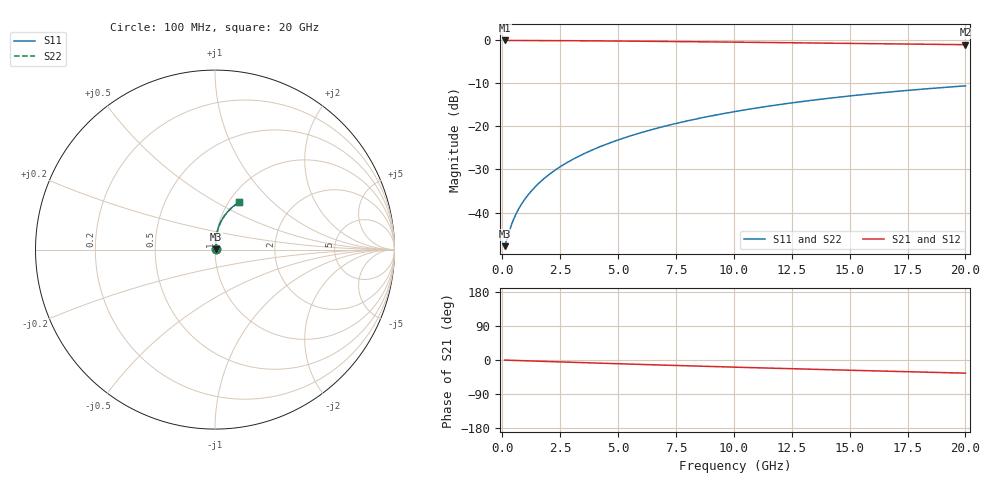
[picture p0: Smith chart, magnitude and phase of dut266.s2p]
! Touchstone file exported from HFSS 2024.1.0
!  File:  C:/UserFiles/LocalFiles/RDL_TSV_Batchsim/temp_RDL_bottom_266_1778702311.aedt
!  Generated:  04:01:08 AM May 14, 2026
!  Design:  RDL_bottom
!  Project:  temp_RDL_bottom_266_1778702311
!  Setup:  Setup1
!  Solution:  Sweep
! Variables:
!  dtsv = 10.80580581um
!  hbump = 3um
!  htsv = 87.51um
!  ldown = 512.96um
!  lrdl = 100um
!  p = 40
!  p1 = 41.07um
!  rhole = 1um
!  t = 450um
!  tdown = 2.37um
!  trdl = 3.915915916um
!  wdown = 22.19um
!  wrdl = 20um
# GHz S MA R 50.000000
! Terminal data exported
! Port[1] = RDL1_T1
! Port[2] = RDL1_T2
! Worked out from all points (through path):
!   200 points, 100 MHz to 20 GHz, reference 50 ohm
!   highest |S21| = -0.03 dB at 100 MHz (marker M1); lowest = -1.0 dB at 20 GHz (marker M2)
!   group delay of S21, straight-line fit = 4.79 ps
!   lowest |S11| = -47.8 dB at 100 MHz (marker M3), VSWR 1.01, Z = 50.4 + j0.157 ohm
!   |S11| at or under -10 dB: start of sweep to end of sweep
!   |S22| runs from -47.8 to -10.6 dB; largest |S21 - S12| = 5e-15
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0.1  0.004069 22.5  0.9962 -0.2  0.9962 -0.2  0.004069 22.5
! Gamma 0 0 0 0
! Port Impedance 50 0 50 0
0.3  0.006063 48.4  0.9959 -0.6  0.9959 -0.6  0.006063 48.4
0.4  0.007265 54.8  0.9957 -0.8  0.9957 -0.8  0.007265 54.8
0.6  0.009707 62.5  0.9953 -1.3  0.9953 -1.3  0.009708 62.5
0.7  0.01093 65.1  0.9951 -1.5  0.9951 -1.5  0.01093 65.1
0.9  0.01337 69.1  0.9947 -1.9  0.9947 -1.9  0.01338 69.1
1.2  0.01709 73.2  0.9942 -2.5  0.9942 -2.5  0.01709 73.2
1.4  0.01961 75.2  0.9938 -2.9  0.9938 -2.9  0.01961 75.2
1.7  0.02346 77.5  0.9932 -3.5  0.9932 -3.5  0.02346 77.4
2.2  0.03001 80.0  0.992 -4.5  0.992 -4.5  0.03001 80.0
2.8  0.0381 81.8  0.9902 -5.6  0.9902 -5.6  0.0381 81.8
3.5  0.04782 83.0  0.9877 -7.0  0.9877 -7.0  0.04782 83.0
4.2  0.05784 83.6  0.9849 -8.4  0.9849 -8.4  0.05783 83.6
5  0.06962 83.8  0.9812 -9.9  0.9812 -9.9  0.0696 83.8
5.9  0.08325 83.6  0.9766 -11.6  0.9766 -11.6  0.08322 83.5
6.8  0.09719 83.0  0.9717 -13.2  0.9717 -13.2  0.09716 82.9
8.4  0.1225 81.3  0.9624 -16.1  0.9624 -16.1  0.1224 81.2
10.1  0.1497 79.0  0.9521 -19.0  0.9521 -19.0  0.1496 78.9
11.7  0.1751 76.5  0.9421 -21.7  0.9421 -21.7  0.175 76.4
13.4  0.2016 73.8  0.9314 -24.5  0.9314 -24.5  0.2015 73.7
16.7  0.2507 68.3  0.9105 -29.7  0.9105 -29.7  0.2505 68.2
20  0.2959 63.0  0.8896 -34.7  0.8896 -34.7  0.2957 62.9
